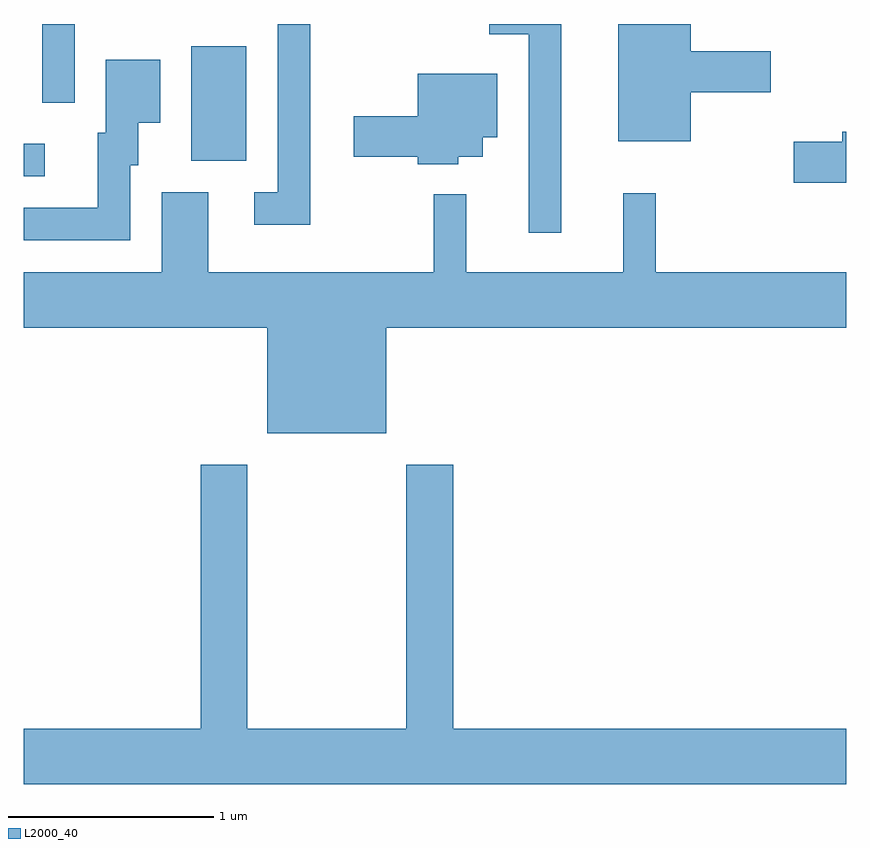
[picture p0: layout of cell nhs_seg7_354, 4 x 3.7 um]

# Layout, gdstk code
import gdstk
lib = gdstk.Library(unit=1e-6, precision=1e-09)
def R(c, l, rs):  # rectangles x0, y0, x1, y1
    for r in rs: c.add(gdstk.rectangle(r[:2], r[2:], *l))
def P(c, l, *ps):  # polygons
    for p in ps: c.add(gdstk.Polygon(p, *l))
L2000_40 = (2000, 40)

nhs_seg7_354 = lib.new_cell('nhs_seg7_354')
R(nhs_seg7_354, L2000_40, [(195.611,1699.511,195.713,1699.669), (196.426,1699.586,196.694,1700.144), (195.701,1699.868,195.859,1700.252)])
P(nhs_seg7_354, L2000_40, [(198.224,1700.252),(197.876,1700.252),(197.876,1700.201),(198.066,1700.201),(198.066,1699.238),(198.224,1699.238)],
  [(197.004,1700.252),(196.846,1700.252),(196.846,1699.434),(196.733,1699.434),(196.733,1699.276),(197.004,1699.276)],
  [(198.854,1699.921),(199.244,1699.921),(199.244,1700.119),(198.854,1700.119),(198.854,1700.252),(198.501,1700.252),(198.501,1699.681),(198.854,1699.681)],
  [(196.129,1699.566),(196.169,1699.566),(196.169,1699.771),(196.274,1699.771),(196.274,1700.079),(196.011,1700.079),(196.011,1699.724),(195.971,1699.724),(195.971,1699.359),(195.611,1699.359),(195.611,1699.201),(196.129,1699.201)],
  [(197.724,1699.606),(197.844,1699.606),(197.844,1699.701),(197.914,1699.701),(197.914,1700.009),(197.526,1700.009),(197.526,1699.804),(197.216,1699.804),(197.216,1699.606),(197.526,1699.606),(197.526,1699.571),(197.724,1699.571)],
  [(199.611,1699.729),(199.591,1699.729),(199.591,1699.679),(199.356,1699.679),(199.356,1699.481),(199.611,1699.481)],
  [(197.374,1698.776),(199.611,1698.776),(199.611,1699.044),(198.684,1699.044),(198.684,1699.428),(198.526,1699.428),(198.526,1699.044),(197.764,1699.044),(197.764,1699.423),(197.606,1699.423),(197.606,1699.044),(196.509,1699.044),(196.509,1699.434),(196.281,1699.434),(196.281,1699.044),(195.611,1699.044),(195.611,1698.776),(196.796,1698.776),(196.796,1698.261),(197.374,1698.261)],
  [(199.611,1696.824),(197.699,1696.824),(197.699,1698.109),(197.471,1698.109),(197.471,1696.824),(196.699,1696.824),(196.699,1698.109),(196.471,1698.109),(196.471,1696.824),(195.611,1696.824),(195.611,1696.556),(199.611,1696.556)])

lib.write_gds('nhs_seg7_354.gds')
